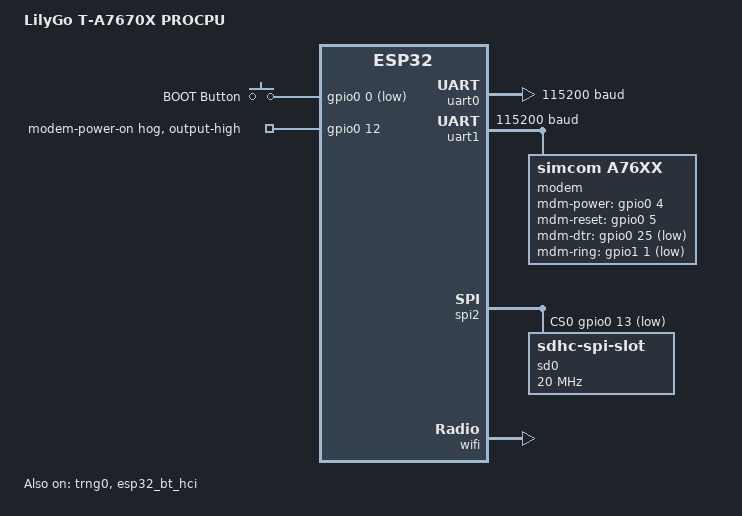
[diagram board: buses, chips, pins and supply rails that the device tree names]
/*
 * Copyright (c) 2026 Pedro Ramos
 *
 * SPDX-License-Identifier: Apache-2.0
 */
/dts-v1/;

#include <espressif/esp32/esp32.dtsi>
#include <espressif/partitions_0x1000_amp.dtsi>
#include "t_a7670x-pinctrl.dtsi"
#include <zephyr/dt-bindings/input/input-event-codes.h>

/ {
	compatible = "lilygo,t-a7670x";
	model = "LilyGo T-A7670X PROCPU";

	aliases {
		uart-0 = &uart0;
		sw0 = &button0;
		sdhc0 = &sd0;
		watchdog0 = &wdt0;
		modem-uart = &uart1;
		modem = &modem;
	};

	chosen {
		zephyr,sram = &sram1;
		zephyr,console = &uart0;
		zephyr,shell-uart = &uart0;
		zephyr,flash = &flash0;
		zephyr,code-partition = &slot0_partition;
		zephyr,bt-hci = &esp32_bt_hci;
	};

	buttons {
		compatible = "gpio-keys";

		button0: button_0 {
			gpios = <&gpio0 0 (GPIO_PULL_UP | GPIO_ACTIVE_LOW)>;
			label = "BOOT Button";
			zephyr,code = <INPUT_KEY_0>;
		};
	};
};

&flash0 {
	reg = <0x0 DT_SIZE_M(4)>;
	ranges = <0x0 0x0 DT_SIZE_M(4)>;
};

&psram0 {
	size = <DT_SIZE_M(8)>;
};

&uart0 {
	current-speed = <115200>;
	pinctrl-0 = <&uart0_default>;
	pinctrl-names = "default";
	status = "okay";
};

&uart1 {
	current-speed = <115200>;
	pinctrl-0 = <&uart1_default>;
	pinctrl-names = "default";
	status = "okay";

	modem: modem {
		compatible = "simcom,a76xx";
		mdm-power-gpios = <&gpio0 4 GPIO_ACTIVE_HIGH>;
		mdm-reset-gpios = <&gpio0 5 GPIO_ACTIVE_HIGH>;
		mdm-dtr-gpios = <&gpio0 25 GPIO_ACTIVE_LOW>;
		mdm-ring-gpios = <&gpio1 1 GPIO_ACTIVE_LOW>;
		status = "okay";
	};
};

&gpio0 {
	gpio-reserved-ranges = <6 6>, <16 2>, <20 1>, <24 1>, <28 4>;
	status = "okay";

	/*
	 * Modem supply switch. GPIO12 is a strapping pin, so it is only
	 * driven once the SoC has booted.
	 */
	modem_power_on {
		gpio-hog;
		gpios = <12 GPIO_ACTIVE_HIGH>;
		output-high;
		line-name = "modem-power-on";
	};
};

&gpio1 {
	gpio-reserved-ranges = <5 2>;
	status = "okay";
};

&spi2 {
	#address-cells = <1>;
	#size-cells = <0>;
	pinctrl-0 = <&spim2_default>;
	pinctrl-names = "default";
	cs-gpios = <&gpio0 13 GPIO_ACTIVE_LOW>;
	status = "okay";

	sd0: sd@0 {
		compatible = "zephyr,sdhc-spi-slot";
		reg = <0>;
		spi-max-frequency = <20000000>;
		status = "okay";

		mmc {
			compatible = "zephyr,sdmmc-disk";
			disk-name = "SD";
			status = "okay";
		};
	};
};

&trng0 {
	status = "okay";
};

&esp32_bt_hci {
	status = "okay";
};

&wifi {
	status = "okay";
};
